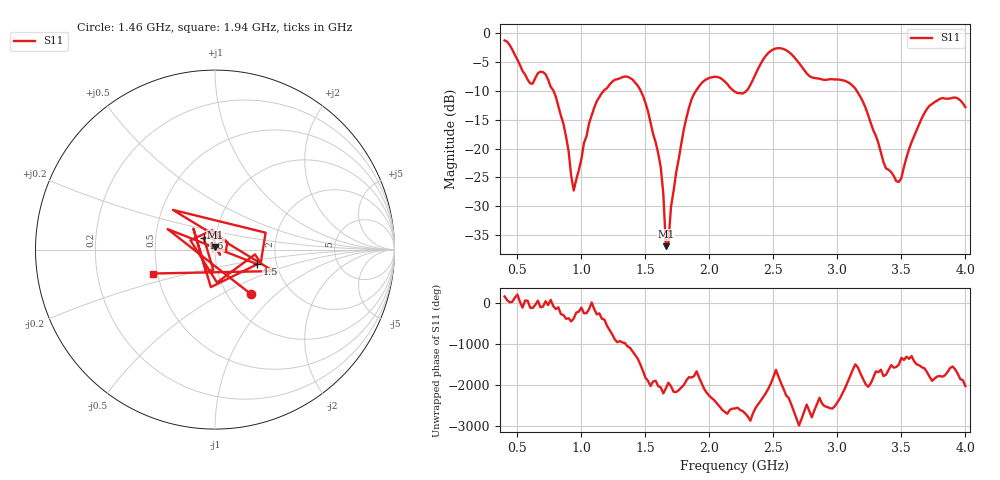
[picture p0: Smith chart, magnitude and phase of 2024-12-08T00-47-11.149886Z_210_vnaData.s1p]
!Created with skrf (http://scikit-rf.org).
# Hz S RI R 50.0
!freq ReS11 ImS11
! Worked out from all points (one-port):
!   181 points, 400 MHz to 4 GHz, reference 50 ohm
!   lowest |S11| = -36.9 dB at 1.66 GHz (marker M1), VSWR 1.03, Z = 50.2 + j1.41 ohm
!   |S11| at or under -10 dB: 781.7 MHz to 1.174 GHz (392.7 MHz wide, 40.2 % of centre); 1.463 GHz to 1.895 GHz (432.2 MHz wide, 25.7 % of centre); 3.151 GHz to end of sweep (the widest 3 of 4)
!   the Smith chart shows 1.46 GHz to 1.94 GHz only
!   S11 on the Smith chart (normalised r, x): 1.46 GHz: 1.28, -0.72; 1.5 GHz: 1.59, -0.28; 1.6 GHz: 0.87, +0.12; 1.94 GHz: 0.47, -0.15
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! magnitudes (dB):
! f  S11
! 400 MHz  -1.3
! 600 MHz  -8.7
! 720 MHz  -7.1
! 860 MHz  -15.8
! 940 MHz  -27.3
! 1.12 GHz  -11.8
! 1.3 GHz  -7.8
! 1.46 GHz  -9.9
! 1.5 GHz  -12.1
! 1.6 GHz  -20.8
! 1.64 GHz  -27.8
! 1.66 GHz  -36.9
! 1.68 GHz  -36.2
! 1.7 GHz  -30.1
! 1.76 GHz  -21.9
! 1.84 GHz  -13.0
! 1.94 GHz  -8.6
! 2.06 GHz  -7.6
! 2.2 GHz  -10.2
! 2.3 GHz  -9.8
! 2.48 GHz  -3.1
! 2.66 GHz  -4.1
! 2.8 GHz  -7.7
! 3.1 GHz  -8.8
! 3.46 GHz  -25.7
! 3.56 GHz  -20.1
! 3.72 GHz  -12.6
! 4 GHz  -12.8
